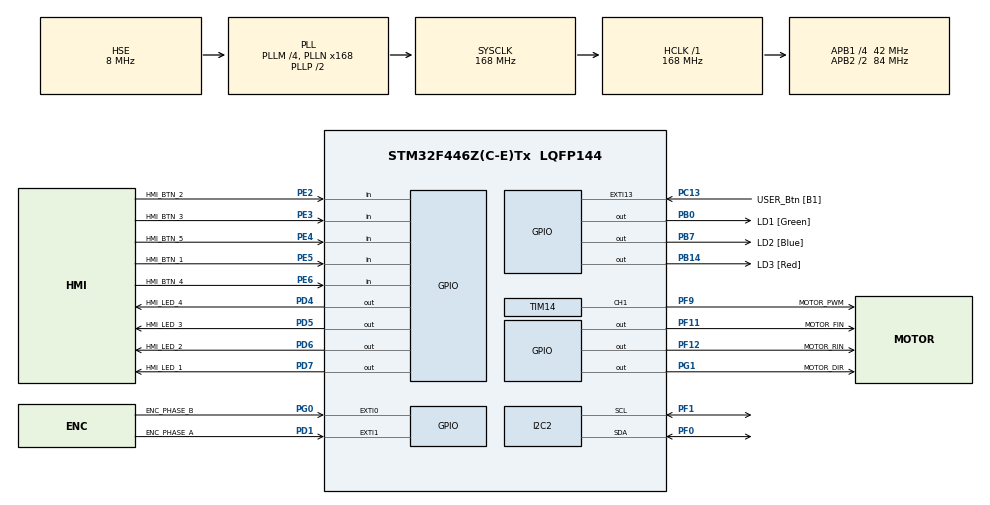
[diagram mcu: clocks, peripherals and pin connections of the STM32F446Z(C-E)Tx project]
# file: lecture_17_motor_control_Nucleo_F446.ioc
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Mcu.Family=STM32F4
Mcu.Name=STM32F446Z(C-E)Tx
Mcu.Package=LQFP144
NVIC.EXTI0_IRQn=true\:0\:0\:false\:false\:true\:true\:true\:true
NVIC.EXTI15_10_IRQn=true\:0\:0\:false\:false\:true\:true\:true\:true
NVIC.EXTI1_IRQn=true\:0\:0\:false\:false\:true\:true\:true\:true
NVIC.PriorityGroup=NVIC_PRIORITYGROUP_4
NVIC.TIM1_UP_TIM10_IRQn=true\:0\:0\:false\:false\:true\:true\:true\:true
PA13.Mode=Serial_Wire
PA13.Signal=SYS_JTMS-SWDIO
PA14.Mode=Serial_Wire
PA14.Signal=SYS_JTCK-SWCLK
PB0.GPIO_Label=LD1 [Green]
PB0.Signal=GPIO_Output
PB14.GPIO_Label=LD3 [Red]
PB14.Signal=GPIO_Output
PB7.GPIO_Label=LD2 [Blue]
PB7.Signal=GPIO_Output
PC13.GPIO_Label=USER_Btn [B1]
PC13.Signal=GPXTI13
PC14-OSC32_IN.Mode=LSE-External-Oscillator
PC14-OSC32_IN.Signal=RCC_OSC32_IN
PC15-OSC32_OUT.Mode=LSE-External-Oscillator
PC15-OSC32_OUT.Signal=RCC_OSC32_OUT
PD1.GPIO_Label=ENC_PHASE_A
PD1.GPIO_ModeDefaultEXTI=GPIO_MODE_IT_RISING_FALLING
PD1.Signal=GPXTI1
PD4.GPIO_Label=HMI_LED_4
PD4.Signal=GPIO_Output
PD5.GPIO_Label=HMI_LED_3
PD5.GPIO_ModeDefaultOutputPP=GPIO_MODE_OUTPUT_PP
PD5.GPIO_PuPd=GPIO_NOPULL
PD5.GPIO_Speed=GPIO_SPEED_FREQ_LOW
PD5.PinState=GPIO_PIN_RESET
PD5.Signal=GPIO_Output
PD6.GPIO_Label=HMI_LED_2
PD6.GPIO_ModeDefaultOutputPP=GPIO_MODE_OUTPUT_PP
PD6.GPIO_PuPd=GPIO_NOPULL
PD6.GPIO_Speed=GPIO_SPEED_FREQ_LOW
PD6.PinState=GPIO_PIN_RESET
PD6.Signal=GPIO_Output
PD7.GPIO_Label=HMI_LED_1
PD7.GPIO_ModeDefaultOutputPP=GPIO_MODE_OUTPUT_PP
PD7.GPIO_PuPd=GPIO_NOPULL
PD7.GPIO_Speed=GPIO_SPEED_FREQ_LOW
PD7.PinState=GPIO_PIN_RESET
PD7.Signal=GPIO_Output
PE2.GPIO_Label=HMI_BTN_2
PE2.GPIO_Mode=GPIO_MODE_INPUT
PE2.GPIO_PuPd=GPIO_PULLDOWN
PE2.Signal=GPIO_Input
PE3.GPIO_Label=HMI_BTN_3
PE3.GPIO_Mode=GPIO_MODE_INPUT
PE3.GPIO_PuPd=GPIO_PULLDOWN
PE3.Signal=GPIO_Input
PE4.GPIO_Label=HMI_BTN_5
PE4.GPIO_Mode=GPIO_MODE_INPUT
PE4.GPIO_PuPd=GPIO_PULLDOWN
PE4.Signal=GPIO_Input
PE5.GPIO_Label=HMI_BTN_1
PE5.GPIO_Mode=GPIO_MODE_INPUT
PE5.GPIO_PuPd=GPIO_PULLDOWN
PE5.Signal=GPIO_Input
PE6.GPIO_Label=HMI_BTN_4
PE6.GPIO_Mode=GPIO_MODE_INPUT
PE6.GPIO_PuPd=GPIO_PULLDOWN
PE6.Signal=GPIO_Input
PF0.Mode=I2C
PF0.Signal=I2C2_SDA
PF1.Mode=I2C
PF1.Signal=I2C2_SCL
PF11.GPIO_Label=MOTOR_FIN
PF11.Signal=GPIO_Output
PF12.GPIO_Label=MOTOR_RIN
PF12.Signal=GPIO_Output
PF9.GPIO_Label=MOTOR_PWM
PF9.Signal=S_TIM14_CH1
PG0.GPIO_Label=ENC_PHASE_B
PG0.GPIO_ModeDefaultEXTI=GPIO_MODE_IT_RISING_FALLING
PG0.Signal=GPXTI0
PG1.GPIO_Label=MOTOR_DIR
PG1.Signal=GPIO_Output
PH0-OSC_IN.Mode=HSE-External-Clock-Source
PH0-OSC_IN.Signal=RCC_OSC_IN
PH1-OSC_OUT.Mode=HSE-External-Clock-Source
PH1-OSC_OUT.Signal=RCC_OSC_OUT
ProjectManager.HeapSize=0x200
ProjectManager.StackSize=0x400
ProjectManager.TargetToolchain=STM32CubeIDE
RCC.48MHZClocksFreq_Value=24000000
RCC.AHBFreq_Value=168000000
RCC.APB1CLKDivider=RCC_HCLK_DIV4
RCC.APB1Freq_Value=42000000
RCC.APB1TimFreq_Value=84000000
RCC.APB2CLKDivider=RCC_HCLK_DIV2
RCC.APB2Freq_Value=84000000
RCC.APB2TimFreq_Value=168000000
RCC.CortexFreq_Value=168000000
RCC.HCLKFreq_Value=168000000
RCC.HSE_VALUE=8000000
RCC.HSI_VALUE=16000000
RCC.PLLM=4
RCC.PLLMUL=RCC_PLL_MUL9
RCC.PLLN=168
RCC.PLLQ=7
RCC.PLLSourceVirtual=RCC_PLLSOURCE_HSE
RCC.PRESCALERUSB=RCC_USBCLKSOURCE_PLL_DIV1_5
RCC.SYSCLKFreq_VALUE=168000000
RCC.SYSCLKSource=RCC_SYSCLKSOURCE_PLLCLK
RCC.SYSCLKSourceVirtual=RCC_SYSCLKSOURCE_PLLCLK
RCC.USBFreq_Value=48000000
RCC.VCOOutputFreq_Value=336000000
SH.S_TIM14_CH1.0=TIM14_CH1,PWM Generation1 CH1
TIM10.AutoReloadPreload=TIM_AUTORELOAD_PRELOAD_ENABLE
TIM10.Period=1000-1
TIM10.Prescaler=1680-1
TIM14.Channel=TIM_CHANNEL_1
TIM14.Period=65535
TIM14.Prescaler=0
VP_TIM10_VS_ClockSourceINT.Mode=Enable_Timer
VP_TIM14_VS_ClockSourceINT.Mode=Enable_Timer
board=NUCLEO-F446ZE

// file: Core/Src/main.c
/* USER CODE BEGIN Header */
/**
  ******************************************************************************
  * @file           : main.c
  * @brief          : Main program body
  ******************************************************************************
  * @attention
  *
  * Copyright (c) 2024 STMicroelectronics.
  * All rights reserved.
  *
  * This software is licensed under terms that can be found in the LICENSE file
  * in the root directory of this software component.
  * If no LICENSE file comes with this software, it is provided AS-IS.
  *
  ******************************************************************************
  */
/* USER CODE END Header */
#include "main.h"
#include "i2c.h"
#include "tim.h"
#include "gpio.h"

/* USER CODE BEGIN Includes */
#include "motor.h"
#include "oled.h"
#include <stdio.h>
/* USER CODE END Includes */

void SystemClock_Config(void);

int main(void)
{

  /* MCU Configuration--------------------------------------------------------*/

  /* Reset of all peripherals, Initializes the Flash interface and the Systick. */
  HAL_Init();

  /* Configure the system clock */
  SystemClock_Config();

  /* Initialize all configured peripherals */
  MX_GPIO_Init();
  MX_I2C2_Init();
  MX_TIM10_Init();
  MX_TIM14_Init();
  /* USER CODE BEGIN 2 */

  OLED_Init();
  Motor_init();

  char display_char[20];
  set_speed_percent = 0;
  OLED_VERTEX setpoint[OLED_WIDTH];
  OLED_VERTEX output[OLED_WIDTH];

  for(int i = 0; i < OLED_WIDTH; i++)
  {
	  setpoint[i].x = i;
	  setpoint[i].y = OLED_HEIGHT/2;
	  output[i].x = i;
	  output[i].y = OLED_HEIGHT/2;
  }

  /* USER CODE END 2 */

  /* Infinite loop */
  /* USER CODE BEGIN WHILE */
  while (1)
  {
	  /* Increase speed by pushing Button 1 */
	  if(HAL_GPIO_ReadPin(HMI_BTN_1_GPIO_Port, HMI_BTN_1_Pin))
	  {
		  set_speed_percent += 10;
	  }

	  /* Decrease speed by pushing Button 5 */
	  if(HAL_GPIO_ReadPin(HMI_BTN_5_GPIO_Port, HMI_BTN_5_Pin))
	  {
		  set_speed_percent -= 10;
	  }

	  /* Stop motor by pushing Button 3 */
	  if(HAL_GPIO_ReadPin(HMI_BTN_3_GPIO_Port, HMI_BTN_3_Pin))
	  {
		  set_speed_percent = 0;
	  }
	  if (set_speed_percent > 100)
	  {
		  set_speed_percent = 100;
	  }
	  else if (set_speed_percent < -100)
	  {
		  set_speed_percent = -100;
	  }

	  /* Set the motor speed */
	  Motor_setPWMDutyPercent((float)set_speed_percent);

    /* USER CODE END WHILE */

    /* USER CODE BEGIN 3 */
	  /* Draw the speed chart */
	  for(int i = 0; i < OLED_WIDTH - 1; i++)
	  {
		  setpoint[i].y = setpoint[i+1].y;
		  output[i].y = output[i+1].y;
	  }

	  setpoint[OLED_WIDTH-1].y = OLED_HEIGHT / 2 - set_speed_percent * 0.25;
	  output[OLED_WIDTH-1].y = OLED_HEIGHT / 2 - output_speed_rpm * 0.25;

	  OLED_Fill(Black);
	  OLED_Polyline(setpoint, OLED_WIDTH, White);
	  OLED_Polyline(output, OLED_WIDTH, White);

	  /* Write text on the display */
	  OLED_SetCursor(2, 0);
	  OLED_WriteString("MOTOR", Font_11x18, White);

	  sprintf(display_char, "SetPWMout %ld", set_speed_percent);

	  OLED_SetCursor(2, 20);
	  OLED_WriteString(display_char, Font_7x10, White);

	  sprintf(display_char, "EncPos %ld", encoder_position_act);

	  OLED_SetCursor(2, 30);
	  OLED_WriteString(display_char, Font_7x10, White);

	  sprintf(display_char, "EncRPM %ld", (int32_t)encoder_speed_rpm);

	  OLED_SetCursor(2, 40);
	  OLED_WriteString(display_char, Font_7x10, White);

	  sprintf(display_char, "OutRPM %ld", (int32_t)output_speed_rpm);

	  OLED_SetCursor(2, 50);
	  OLED_WriteString(display_char, Font_7x10, White);

	  OLED_UpdateScreen();
	  HAL_Delay(100);
  }
  /* USER CODE END 3 */
}

void SystemClock_Config(void)
{
  RCC_OscInitTypeDef RCC_OscInitStruct = {0};
  RCC_ClkInitTypeDef RCC_ClkInitStruct = {0};

  /** Configure the main internal regulator output voltage
  */
  __HAL_RCC_PWR_CLK_ENABLE();
  __HAL_PWR_VOLTAGESCALING_CONFIG(PWR_REGULATOR_VOLTAGE_SCALE1);

  /** Initializes the RCC Oscillators according to the specified parameters
  * in the RCC_OscInitTypeDef structure.
  */
  RCC_OscInitStruct.OscillatorType = RCC_OSCILLATORTYPE_HSE;
  RCC_OscInitStruct.HSEState = RCC_HSE_BYPASS;
  RCC_OscInitStruct.PLL.PLLState = RCC_PLL_ON;
  RCC_OscInitStruct.PLL.PLLSource = RCC_PLLSOURCE_HSE;
  RCC_OscInitStruct.PLL.PLLM = 4;
  RCC_OscInitStruct.PLL.PLLN = 168;
  RCC_OscInitStruct.PLL.PLLP = RCC_PLLP_DIV2;
  RCC_OscInitStruct.PLL.PLLQ = 7;
  RCC_OscInitStruct.PLL.PLLR = 2;
  if (HAL_RCC_OscConfig(&RCC_OscInitStruct) != HAL_OK)
  {
    Error_Handler();
  }

  /** Initializes the CPU, AHB and APB buses clocks
  */
  RCC_ClkInitStruct.ClockType = RCC_CLOCKTYPE_HCLK|RCC_CLOCKTYPE_SYSCLK
                              |RCC_CLOCKTYPE_PCLK1|RCC_CLOCKTYPE_PCLK2;
  RCC_ClkInitStruct.SYSCLKSource = RCC_SYSCLKSOURCE_PLLCLK;
  RCC_ClkInitStruct.AHBCLKDivider = RCC_SYSCLK_DIV1;
  RCC_ClkInitStruct.APB1CLKDivider = RCC_HCLK_DIV4;
  RCC_ClkInitStruct.APB2CLKDivider = RCC_HCLK_DIV2;

  if (HAL_RCC_ClockConfig(&RCC_ClkInitStruct, FLASH_LATENCY_5) != HAL_OK)
  {
    Error_Handler();
  }
}

void Error_Handler(void)
{
  __disable_irq();
  while (1)
  {
  }
}
